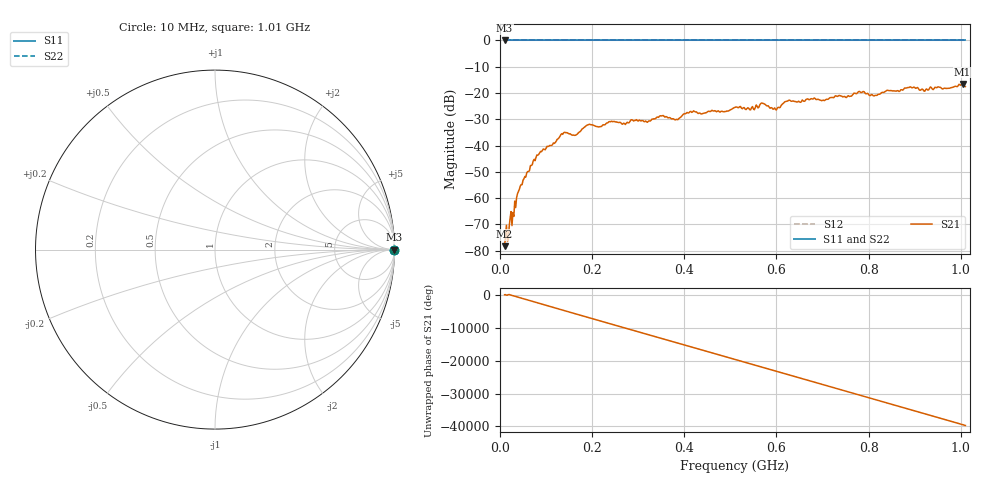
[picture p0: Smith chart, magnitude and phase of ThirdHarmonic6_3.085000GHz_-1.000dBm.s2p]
! 8/17/2025 9:03:31 AM
! C:\ANRITSUVNA\TEMP\TEMP.S2P
! CHANNEL.1
! TR.MEASUREMENT
! RAW.DATA
! RF.CORRECTION.OFF
! AVERAGING.OFF
! IF.BANDWIDTH: 5KHZ
! SWEEPTYPE:  FREQ.SWEEP(Linear)
! Reference Plane Port Info
! PORT:  PORT1  PORT2
! DISTANCE:  0  m  0  m
! TIME:  0  s  0  s
! PHASE.OFFSET:  0  deg.  0  deg.
! LOSS:  0  dB  0  dB
! REF.LOSS:  0  dB  0  dB
! REF.FREQ:  0  Hz  0  Hz
! Power Info
! POWER:  -20  dBm  -20  dBm
! EFF.POWER:  -20  dBm  -20  dBm
! SOURCE.ATTEN:  0  dB  0  dB
! TEST.ATTEN:  0  dB  0  dB
# GHZ S RI R 50.0
! FREQ.GHZ  S11RE  S11IM  S21RE  S21IM  S12RE  S12IM  S22RE  S22IM
!; PortSelection: Port_12
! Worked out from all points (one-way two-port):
!   501 points, 10 MHz to 1.01 GHz, reference 50 ohm
!   highest |S21| = -16.53 dB at 1.004 GHz (marker M1); lowest = -78.3 dB at 10 MHz (marker M2)
!   lowest |S11| = 0.0 dB at 10 MHz (marker M3)
!   |S11| at or under -10 dB: nowhere
!   |S22| runs from 0.0 to 0.0 dB; largest |S21 - S12| = 1.1
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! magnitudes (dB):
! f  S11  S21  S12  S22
! 10 MHz  0.0  -78.3  0.0  0.0
! 30 MHz  0.0  -67.0  0.0  0.0
! 42 MHz  0.0  -56.6  0.0  0.0
! 76 MHz  0.0  -45.8  0.0  0.0
! 136 MHz  0.0  -35.7  0.0  0.0
! 162 MHz  0.0  -36.1  0.0  0.0
! 178 MHz  0.0  -33.7  0.0  0.0
! 192 MHz  0.0  -32.0  0.0  0.0
! 344 MHz  0.0  -29.2  0.0  0.0
! 382 MHz  0.0  -30.1  0.0  0.0
! 416 MHz  0.0  -27.4  0.0  0.0
! 510 MHz  0.0  -25.4  0.0  0.0
! 548 MHz  0.0  -25.1  0.0  0.0
! 570 MHz  0.0  -23.9  0.0  0.0
! 596 MHz  0.0  -25.7  0.0  0.0
! 624 MHz  0.0  -23.0  0.0  0.0
! 678 MHz  0.0  -22.3  0.0  0.0
! 782 MHz  0.0  -19.6  0.0  0.0
! 814 MHz  0.0  -20.9  0.0  0.0
! 844 MHz  0.0  -19.1  0.0  0.0
! 1.004 GHz  0.0  -16.5  0.0  0.0
! 1.01 GHz  0.0  -17.5  0.0  0.0
